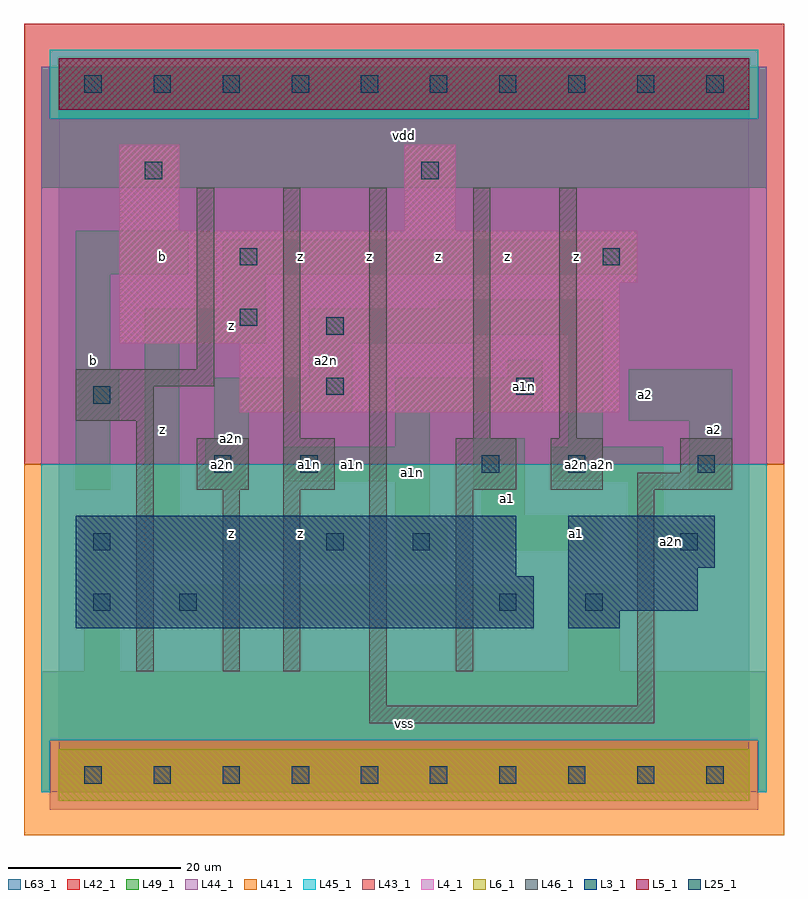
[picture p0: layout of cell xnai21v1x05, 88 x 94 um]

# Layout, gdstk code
import gdstk
lib = gdstk.Library(unit=1e-6, precision=1e-09)
def R(c, l, rs):  # rectangles x0, y0, x1, y1
    for r in rs: c.add(gdstk.rectangle(r[:2], r[2:], *l))
def A(c, l, x, y, w, h, nx, ny, dx, dy):  # array of equal rectangles
    R(c, l, [(x+i*dx, y+j*dy, x+i*dx+w, y+j*dy+h) for i in range(nx) for j in range(ny)])
L3_1 = (3, 1)
L4_1 = (4, 1)
L5_1 = (5, 1)
L6_1 = (6, 1)
L25_1 = (25, 1)
L41_1 = (41, 1)
L42_1 = (42, 1)
L43_1 = (43, 1)
L44_1 = (44, 1)
L45_1 = (45, 1)
L46_1 = (46, 1)
L49_1 = (49, 1)
L63_1 = (63, 1)

xnai21v1x05 = lib.new_cell('xnai21v1x05')
R(xnai21v1x05, L3_1, [(2,17,55,23), (59,17,65,19), (59,19,74,24), (2,23,53,30), (59,24,76,30)])
R(xnai21v1x05, L4_1, [(21,42,65,50), (7,50,65,57), (7,57,67,63), (7,63,14,73), (40,63,46,73)])
R(xnai21v1x05, L5_1, [(0,77,80,83)])
R(xnai21v1x05, L6_1, [(0,-3,80,3), (0,-3,80,3)])
A(xnai21v1x05, L25_1, 3, -1, 2, 2, 10, 2, 8, 80)
R(xnai21v1x05, L25_1, [(4,19,6,21), (14,19,16,21), (51,19,53,21), (61,19,63,21), (4,26,6,28), (31,26,33,28), (41,26,43,28), (72,26,74,28), (18,35,20,37), (28,35,30,37), (49,35,51,37), (59,35,61,37), (74,35,76,37), (4,43,6,45), (31,44,33,46), (53,44,55,46), (31,51,33,53), (21,52,23,54), (21,59,23,61), (63,59,65,61), (10,69,12,71), (42,69,44,71)])
R(xnai21v1x05, L41_1, [(-4,-7,84,36)])
R(xnai21v1x05, L42_1, [(-4,36,84,87)])
R(xnai21v1x05, L43_1, [(0,-3,80,3), (2,17,55,23), (59,17,65,19), (59,19,74,24), (2,23,53,30), (59,24,76,30), (21,42,65,50), (7,50,65,57), (7,57,67,63), (7,63,14,73), (40,63,46,73), (0,77,80,83)])
R(xnai21v1x05, L44_1, [(-1,-4,81,4), (-2,36,82,76), (-2,76,-1,82), (81,76,82,82)])
R(xnai21v1x05, L45_1, [(-2,-2,-1,4), (81,-2,82,4), (-2,4,82,36), (-1,76,81,84)])
R(xnai21v1x05, L46_1, [(36,6,69,8), (36,8,38,68), (67,8,69,33), (9,12,11,41), (19,12,21,33), (26,12,28,33), (46,12,48,33), (16,33,22,39), (26,33,32,39), (46,33,53,39), (57,33,63,39), (67,33,78,35), (72,35,78,39), (26,39,28,68), (48,39,50,68), (58,39,60,68), (2,41,11,45), (2,45,18,47), (16,47,18,68)])
R(xnai21v1x05, L49_1, [(-2,-2,82,12), (3,12,7,30), (59,12,65,22), (12,18,55,22), (29,25,35,26), (39,25,45,29), (66,25,76,29), (10,26,35,30), (49,26,63,30), (39,29,43,34), (66,29,70,34), (10,30,14,50), (49,30,54,33), (2,33,6,41), (17,33,22,39), (48,33,54,39), (73,33,78,41), (26,34,43,38), (57,34,70,38), (39,38,43,42), (59,38,63,51), (18,39,22,42), (2,41,7,47), (66,41,78,47), (18,42,34,46), (39,42,56,46), (29,46,34,50), (52,46,56,48), (2,47,6,58), (10,50,24,54), (29,50,48,51), (29,51,63,54), (19,54,24,58), (44,54,63,55), (2,58,15,63), (19,58,67,62), (-2,68,82,82)])
R(xnai21v1x05, L63_1, [(0,0,80,80)])
xnai21v1x05.add(gdstk.Label('a2n', (19,36), layer=49, texttype=1))
xnai21v1x05.add(gdstk.Label('a1n', (29,36), layer=49, texttype=1))
xnai21v1x05.add(gdstk.Label('a2n', (60,36), layer=49, texttype=1))
xnai21v1x05.add(gdstk.Label('b', (4,48), layer=49, texttype=1))
xnai21v1x05.add(gdstk.Label('z', (28,28), layer=49, texttype=1))
xnai21v1x05.add(gdstk.Label('z', (20,28), layer=49, texttype=1))
xnai21v1x05.add(gdstk.Label('a2n', (20,39), layer=49, texttype=1))
xnai21v1x05.add(gdstk.Label('z', (12,40), layer=49, texttype=1))
xnai21v1x05.add(gdstk.Label('z', (20,52), layer=49, texttype=1))
xnai21v1x05.add(gdstk.Label('b', (12,60), layer=49, texttype=1))
xnai21v1x05.add(gdstk.Label('z', (28,60), layer=49, texttype=1))
xnai21v1x05.add(gdstk.Label('vss', (40,6), layer=49, texttype=1))
xnai21v1x05.add(gdstk.Label('a1n', (41,35), layer=49, texttype=1))
xnai21v1x05.add(gdstk.Label('a1n', (34,36), layer=49, texttype=1))
xnai21v1x05.add(gdstk.Label('a2n', (31,48), layer=49, texttype=1))
xnai21v1x05.add(gdstk.Label('z', (36,60), layer=49, texttype=1))
xnai21v1x05.add(gdstk.Label('z', (44,60), layer=49, texttype=1))
xnai21v1x05.add(gdstk.Label('vdd', (40,74), layer=49, texttype=1))
xnai21v1x05.add(gdstk.Label('a1', (60,28), layer=49, texttype=1))
xnai21v1x05.add(gdstk.Label('a1', (52,32), layer=49, texttype=1))
xnai21v1x05.add(gdstk.Label('a1n', (54,45), layer=49, texttype=1))
xnai21v1x05.add(gdstk.Label('z', (52,60), layer=49, texttype=1))
xnai21v1x05.add(gdstk.Label('z', (60,60), layer=49, texttype=1))
xnai21v1x05.add(gdstk.Label('a2n', (71,27), layer=49, texttype=1))
xnai21v1x05.add(gdstk.Label('a2', (68,44), layer=49, texttype=1))
xnai21v1x05.add(gdstk.Label('a2n', (63,36), layer=49, texttype=1))
xnai21v1x05.add(gdstk.Label('a2', (76,40), layer=49, texttype=1))

lib.write_gds('xnai21v1x05.gds')
